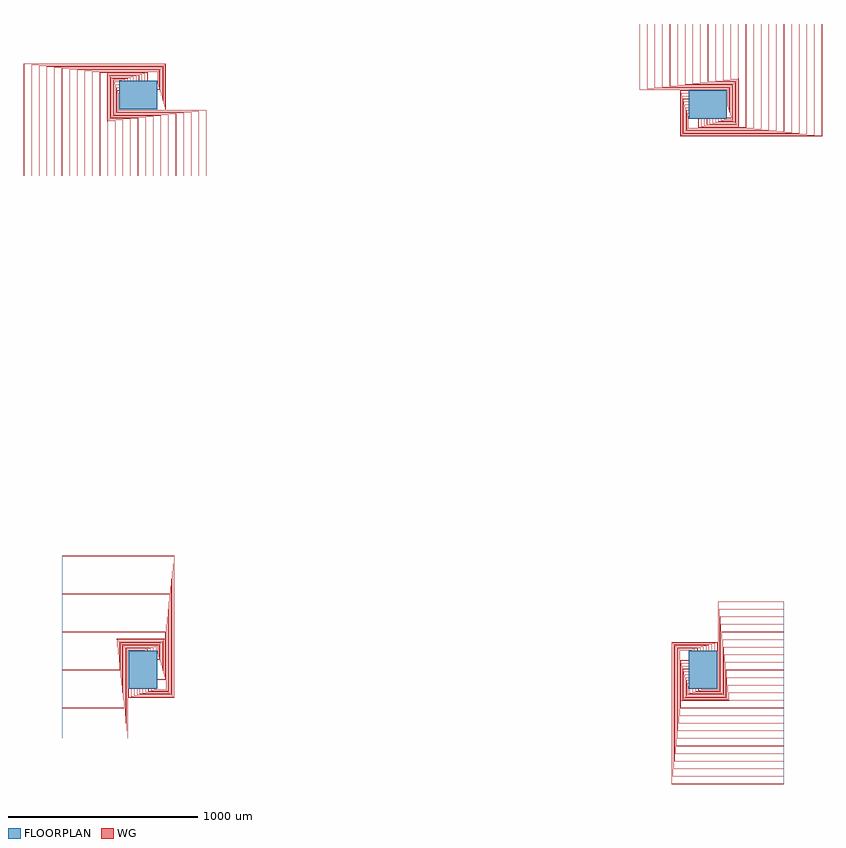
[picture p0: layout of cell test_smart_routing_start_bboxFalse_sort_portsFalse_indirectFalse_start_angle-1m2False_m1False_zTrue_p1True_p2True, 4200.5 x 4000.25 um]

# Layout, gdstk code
import gdstk
lib = gdstk.Library(unit=1e-6, precision=1e-09)
def R(c, l, rs):  # rectangles x0, y0, x1, y1
    for r in rs: c.add(gdstk.rectangle(r[:2], r[2:], *l))
def P(c, l, *ps):  # polygons
    for p in ps: c.add(gdstk.Polygon(p, *l))
WG = (1, 0)
FLOORPLAN = (10, 0)

test_smart_routing_start = lib.new_cell('test_smart_routing_start_bboxFalse_sort_portsFalse_indirectFalse_start_angle-1m2False_m1False_zTrue_p1True_p2True')
P(test_smart_routing_start, WG, [(2855.3,2810.3),(2855.3,3049.95),(2900,3049.95),(2900,3049.75),(2855.5,3049.75),(2855.5,2810.5),(3599.75,2810.5),(3599.75,3400),(3599.95,3400),(3599.95,2810.3)],
  [(2855,2810),(2855,3050.25),(2900,3050.25),(2900,3050.05),(2855.2,3050.05),(2855.2,2810.2),(3600.05,2810.2),(3600.05,3400),(3600.25,3400),(3600.25,2810)],
  [(2859.8,2814.8),(2859.8,3034.95),(2900,3034.95),(2900,3034.75),(2860,3034.75),(2860,2815),(3559.75,2815),(3559.75,3400),(3559.95,3400),(3559.95,2814.8)],
  [(2859.5,2814.5),(2859.5,3035.25),(2900,3035.25),(2900,3035.05),(2859.7,3035.05),(2859.7,2814.7),(3560.05,2814.7),(3560.05,3400),(3560.25,3400),(3560.25,2814.5)],
  [(2864.3,2819.3),(2864.3,3019.95),(2900,3019.95),(2900,3019.75),(2864.5,3019.75),(2864.5,2819.5),(3519.75,2819.5),(3519.75,3400),(3519.95,3400),(3519.95,2819.3)],
  [(2864,2819),(2864,3020.25),(2900,3020.25),(2900,3020.05),(2864.2,3020.05),(2864.2,2819.2),(3520.05,2819.2),(3520.05,3400),(3520.25,3400),(3520.25,2819)],
  [(2868.8,2823.8),(2868.8,3004.95),(2900,3004.95),(2900,3004.75),(2869,3004.75),(2869,2824),(3479.75,2824),(3479.75,3400),(3479.95,3400),(3479.95,2823.8)],
  [(2868.5,2823.5),(2868.5,3005.25),(2900,3005.25),(2900,3005.05),(2868.7,3005.05),(2868.7,2823.7),(3480.05,2823.7),(3480.05,3400),(3480.25,3400),(3480.25,2823.5)],
  [(2873.3,2828.3),(2873.3,2989.95),(2900,2989.95),(2900,2989.75),(2873.5,2989.75),(2873.5,2828.5),(3439.75,2828.5),(3439.75,3400),(3439.95,3400),(3439.95,2828.3)],
  [(2873,2828),(2873,2990.25),(2900,2990.25),(2900,2990.05),(2873.2,2990.05),(2873.2,2828.2),(3440.05,2828.2),(3440.05,3400),(3440.25,3400),(3440.25,2828)],
  [(2877.8,2832.8),(2877.8,2974.95),(2900,2974.95),(2900,2974.75),(2878,2974.75),(2878,2833),(3399.75,2833),(3399.75,3400),(3399.95,3400),(3399.95,2832.8)],
  [(2877.5,2832.5),(2877.5,2975.25),(2900,2975.25),(2900,2975.05),(2877.7,2975.05),(2877.7,2832.7),(3400.05,2832.7),(3400.05,3400),(3400.25,3400),(3400.25,2832.5)],
  [(2882.3,2837.3),(2882.3,2959.95),(2900,2959.95),(2900,2959.75),(2882.5,2959.75),(2882.5,2837.5),(3359.75,2837.5),(3359.75,3400),(3359.95,3400),(3359.95,2837.3)],
  [(2882,2837),(2882,2960.25),(2900,2960.25),(2900,2960.05),(2882.2,2960.05),(2882.2,2837.2),(3360.05,2837.2),(3360.05,3400),(3360.25,3400),(3360.25,2837)],
  [(2886.8,2841.8),(2886.8,2944.95),(2900,2944.95),(2900,2944.75),(2887,2944.75),(2887,2842),(3319.75,2842),(3319.75,3400),(3319.95,3400),(3319.95,2841.8)],
  [(2886.5,2841.5),(2886.5,2945.25),(2900,2945.25),(2900,2945.05),(2886.7,2945.05),(2886.7,2841.7),(3320.05,2841.7),(3320.05,3400),(3320.25,3400),(3320.25,2841.5)],
  [(2891.3,2846.3),(2891.3,2929.95),(2900,2929.95),(2900,2929.75),(2891.5,2929.75),(2891.5,2846.5),(3279.75,2846.5),(3279.75,3400),(3279.95,3400),(3279.95,2846.3)],
  [(2891,2846),(2891,2930.25),(2900,2930.25),(2900,2930.05),(2891.2,2930.05),(2891.2,2846.2),(3280.05,2846.2),(3280.05,3400),(3280.25,3400),(3280.25,2846)],
  [(2895.8,2850.8),(2895.8,2914.95),(2900,2914.95),(2900,2914.75),(2896,2914.75),(2896,2851),(3239.75,2851),(3239.75,3400),(3239.95,3400),(3239.95,2850.8)],
  [(2895.5,2850.5),(2895.5,2915.25),(2900,2915.25),(2900,2915.05),(2895.7,2915.05),(2895.7,2850.7),(3240.05,2850.7),(3240.05,3400),(3240.25,3400),(3240.25,2850.5)],
  [(2950.05,2855.3),(2950.05,2900),(2950.25,2900),(2950.25,2855.5),(3199.75,2855.5),(3199.75,3400),(3199.95,3400),(3199.95,2855.3)],
  [(2949.75,2855),(2949.75,2900),(2949.95,2900),(2949.95,2855.2),(3200.05,2855.2),(3200.05,3400),(3200.25,3400),(3200.25,2855)],
  [(2965.05,2859.8),(2965.05,2900),(2965.25,2900),(2965.25,2860),(3162.5,2860),(3162.5,3112.75),(3159.75,3112.75),(3159.75,3400),(3159.95,3400),(3159.95,3112.95),(3162.7,3112.95),(3162.7,2859.8)],
  [(2964.75,2859.5),(2964.75,2900),(2964.95,2900),(2964.95,2859.7),(3162.8,2859.7),(3162.8,3113.05),(3160.05,3113.05),(3160.05,3400),(3160.25,3400),(3160.25,3113.25),(3163,3113.25),(3163,2859.5)],
  [(2980.05,2864.3),(2980.05,2900),(2980.25,2900),(2980.25,2864.5),(3158,2864.5),(3158,3108.25),(3119.75,3108.25),(3119.75,3400),(3119.95,3400),(3119.95,3108.45),(3158.2,3108.45),(3158.2,2864.3)],
  [(2979.75,2864),(2979.75,2900),(2979.95,2900),(2979.95,2864.2),(3158.3,2864.2),(3158.3,3108.55),(3120.05,3108.55),(3120.05,3400),(3120.25,3400),(3120.25,3108.75),(3158.5,3108.75),(3158.5,2864)],
  [(2995.05,2868.8),(2995.05,2900),(2995.25,2900),(2995.25,2869),(3153.5,2869),(3153.5,3103.75),(3079.75,3103.75),(3079.75,3400),(3079.95,3400),(3079.95,3103.95),(3153.7,3103.95),(3153.7,2868.8)],
  [(2994.75,2868.5),(2994.75,2900),(2994.95,2900),(2994.95,2868.7),(3153.8,2868.7),(3153.8,3104.05),(3080.05,3104.05),(3080.05,3400),(3080.25,3400),(3080.25,3104.25),(3154,3104.25),(3154,2868.5)],
  [(3010.05,2873.3),(3010.05,2900),(3010.25,2900),(3010.25,2873.5),(3149,2873.5),(3149,3099.25),(3039.75,3099.25),(3039.75,3400),(3039.95,3400),(3039.95,3099.45),(3149.2,3099.45),(3149.2,2873.3)],
  [(3009.75,2873),(3009.75,2900),(3009.95,2900),(3009.95,2873.2),(3149.3,2873.2),(3149.3,3099.55),(3040.05,3099.55),(3040.05,3400),(3040.25,3400),(3040.25,3099.75),(3149.5,3099.75),(3149.5,2873)],
  [(3025.05,2877.8),(3025.05,2900),(3025.25,2900),(3025.25,2878),(3144.5,2878),(3144.5,3094.75),(2999.75,3094.75),(2999.75,3400),(2999.95,3400),(2999.95,3094.95),(3144.7,3094.95),(3144.7,2877.8)],
  [(3024.75,2877.5),(3024.75,2900),(3024.95,2900),(3024.95,2877.7),(3144.8,2877.7),(3144.8,3095.05),(3000.05,3095.05),(3000.05,3400),(3000.25,3400),(3000.25,3095.25),(3145,3095.25),(3145,2877.5)],
  [(3040.05,2882.3),(3040.05,2900),(3040.25,2900),(3040.25,2882.5),(3140,2882.5),(3140,3090.25),(2959.75,3090.25),(2959.75,3400),(2959.95,3400),(2959.95,3090.45),(3140.2,3090.45),(3140.2,2882.3)],
  [(3039.75,2882),(3039.75,2900),(3039.95,2900),(3039.95,2882.2),(3140.3,2882.2),(3140.3,3090.55),(2960.05,3090.55),(2960.05,3400),(2960.25,3400),(2960.25,3090.75),(3140.5,3090.75),(3140.5,2882)],
  [(3055.05,2886.8),(3055.05,2900),(3055.25,2900),(3055.25,2887),(3135.5,2887),(3135.5,3085.75),(2919.75,3085.75),(2919.75,3400),(2919.95,3400),(2919.95,3085.95),(3135.7,3085.95),(3135.7,2886.8)],
  [(3054.75,2886.5),(3054.75,2900),(3054.95,2900),(3054.95,2886.7),(3135.8,2886.7),(3135.8,3086.05),(2920.05,3086.05),(2920.05,3400),(2920.25,3400),(2920.25,3086.25),(3136,3086.25),(3136,2886.5)],
  [(3070.05,2891.3),(3070.05,2900),(3070.25,2900),(3070.25,2891.5),(3131,2891.5),(3131,3081.25),(2879.75,3081.25),(2879.75,3400),(2879.95,3400),(2879.95,3081.45),(3131.2,3081.45),(3131.2,2891.3)],
  [(3069.75,2891),(3069.75,2900),(3069.95,2900),(3069.95,2891.2),(3131.3,2891.2),(3131.3,3081.55),(2880.05,3081.55),(2880.05,3400),(2880.25,3400),(2880.25,3081.75),(3131.5,3081.75),(3131.5,2891)],
  [(3085.05,2895.8),(3085.05,2900),(3085.25,2900),(3085.25,2896),(3126.5,2896),(3126.5,3076.75),(2839.75,3076.75),(2839.75,3400),(2839.95,3400),(2839.95,3076.95),(3126.7,3076.95),(3126.7,2895.8)],
  [(3084.75,2895.5),(3084.75,2900),(3084.95,2900),(3084.95,2895.7),(3126.8,2895.7),(3126.8,3077.05),(2840.05,3077.05),(2840.05,3400),(2840.25,3400),(2840.25,3077.25),(3127,3077.25),(3127,2895.5)],
  [(3100,2965.05),(3100,2965.25),(3104,2965.25),(3104,3054.25),(2639.75,3054.25),(2639.75,3400),(2639.95,3400),(2639.95,3054.45),(3104.2,3054.45),(3104.2,2965.05)],
  [(3100,2964.75),(3100,2964.95),(3104.3,2964.95),(3104.3,3054.55),(2640.05,3054.55),(2640.05,3400),(2640.25,3400),(2640.25,3054.75),(3104.5,3054.75),(3104.5,2964.75)],
  [(3100,2950.05),(3100,2950.25),(3108.5,2950.25),(3108.5,3058.75),(2679.75,3058.75),(2679.75,3400),(2679.95,3400),(2679.95,3058.95),(3108.7,3058.95),(3108.7,2950.05)],
  [(3100,2949.75),(3100,2949.95),(3108.8,2949.95),(3108.8,3059.05),(2680.05,3059.05),(2680.05,3400),(2680.25,3400),(2680.25,3059.25),(3109,3059.25),(3109,2949.75)],
  [(3100,2935.05),(3100,2935.25),(3113,2935.25),(3113,3063.25),(2719.75,3063.25),(2719.75,3400),(2719.95,3400),(2719.95,3063.45),(3113.2,3063.45),(3113.2,2935.05)],
  [(3100,2934.75),(3100,2934.95),(3113.3,2934.95),(3113.3,3063.55),(2720.05,3063.55),(2720.05,3400),(2720.25,3400),(2720.25,3063.75),(3113.5,3063.75),(3113.5,2934.75)],
  [(3100,2920.05),(3100,2920.25),(3117.5,2920.25),(3117.5,3067.75),(2759.75,3067.75),(2759.75,3400),(2759.95,3400),(2759.95,3067.95),(3117.7,3067.95),(3117.7,2920.05)],
  [(3100,2919.75),(3100,2919.95),(3117.8,2919.95),(3117.8,3068.05),(2760.05,3068.05),(2760.05,3400),(2760.25,3400),(2760.25,3068.25),(3118,3068.25),(3118,2919.75)],
  [(3100,2905.05),(3100,2905.25),(3122,2905.25),(3122,3072.25),(2799.75,3072.25),(2799.75,3400),(2799.95,3400),(2799.95,3072.45),(3122.2,3072.45),(3122.2,2905.05)],
  [(3100,2904.75),(3100,2904.95),(3122.3,2904.95),(3122.3,3072.55),(2800.05,3072.55),(2800.05,3400),(2800.25,3400),(2800.25,3072.75),(3122.5,3072.75),(3122.5,2904.75)],
  [(-599.95,2600),(-599.95,3189.7),(144.7,3189.7),(144.7,2950.05),(100,2950.05),(100,2950.25),(144.5,2950.25),(144.5,3189.5),(-599.75,3189.5),(-599.75,2600)],
  [(-600.25,2600),(-600.25,3190),(145,3190),(145,2949.75),(100,2949.75),(100,2949.95),(144.8,2949.95),(144.8,3189.8),(-600.05,3189.8),(-600.05,2600)],
  [(-559.95,2600),(-559.95,3185.2),(140.2,3185.2),(140.2,2965.05),(100,2965.05),(100,2965.25),(140,2965.25),(140,3185),(-559.75,3185),(-559.75,2600)],
  [(-560.25,2600),(-560.25,3185.5),(140.5,3185.5),(140.5,2964.75),(100,2964.75),(100,2964.95),(140.3,2964.95),(140.3,3185.3),(-560.05,3185.3),(-560.05,2600)],
  [(-519.95,2600),(-519.95,3180.7),(135.7,3180.7),(135.7,2980.05),(100,2980.05),(100,2980.25),(135.5,2980.25),(135.5,3180.5),(-519.75,3180.5),(-519.75,2600)],
  [(-520.25,2600),(-520.25,3181),(136,3181),(136,2979.75),(100,2979.75),(100,2979.95),(135.8,2979.95),(135.8,3180.8),(-520.05,3180.8),(-520.05,2600)],
  [(-479.95,2600),(-479.95,3176.2),(131.2,3176.2),(131.2,2995.05),(100,2995.05),(100,2995.25),(131,2995.25),(131,3176),(-479.75,3176),(-479.75,2600)],
  [(-480.25,2600),(-480.25,3176.5),(131.5,3176.5),(131.5,2994.75),(100,2994.75),(100,2994.95),(131.3,2994.95),(131.3,3176.3),(-480.05,3176.3),(-480.05,2600)],
  [(-439.95,2600),(-439.95,3171.7),(126.7,3171.7),(126.7,3010.05),(100,3010.05),(100,3010.25),(126.5,3010.25),(126.5,3171.5),(-439.75,3171.5),(-439.75,2600)],
  [(-440.25,2600),(-440.25,3172),(127,3172),(127,3009.75),(100,3009.75),(100,3009.95),(126.8,3009.95),(126.8,3171.8),(-440.05,3171.8),(-440.05,2600)],
  [(-399.95,2600),(-399.95,3167.2),(122.2,3167.2),(122.2,3025.05),(100,3025.05),(100,3025.25),(122,3025.25),(122,3167),(-399.75,3167),(-399.75,2600)],
  [(-400.25,2600),(-400.25,3167.5),(122.5,3167.5),(122.5,3024.75),(100,3024.75),(100,3024.95),(122.3,3024.95),(122.3,3167.3),(-400.05,3167.3),(-400.05,2600)],
  [(-359.95,2600),(-359.95,3162.7),(117.7,3162.7),(117.7,3040.05),(100,3040.05),(100,3040.25),(117.5,3040.25),(117.5,3162.5),(-359.75,3162.5),(-359.75,2600)],
  [(-360.25,2600),(-360.25,3163),(118,3163),(118,3039.75),(100,3039.75),(100,3039.95),(117.8,3039.95),(117.8,3162.8),(-360.05,3162.8),(-360.05,2600)],
  [(-319.95,2600),(-319.95,3158.2),(113.2,3158.2),(113.2,3055.05),(100,3055.05),(100,3055.25),(113,3055.25),(113,3158),(-319.75,3158),(-319.75,2600)],
  [(-320.25,2600),(-320.25,3158.5),(113.5,3158.5),(113.5,3054.75),(100,3054.75),(100,3054.95),(113.3,3054.95),(113.3,3158.3),(-320.05,3158.3),(-320.05,2600)],
  [(-279.95,2600),(-279.95,3153.7),(108.7,3153.7),(108.7,3070.05),(100,3070.05),(100,3070.25),(108.5,3070.25),(108.5,3153.5),(-279.75,3153.5),(-279.75,2600)],
  [(-280.25,2600),(-280.25,3154),(109,3154),(109,3069.75),(100,3069.75),(100,3069.95),(108.8,3069.95),(108.8,3153.8),(-280.05,3153.8),(-280.05,2600)],
  [(-239.95,2600),(-239.95,3149.2),(104.2,3149.2),(104.2,3085.05),(100,3085.05),(100,3085.25),(104,3085.25),(104,3149),(-239.75,3149),(-239.75,2600)],
  [(-240.25,2600),(-240.25,3149.5),(104.5,3149.5),(104.5,3084.75),(100,3084.75),(100,3084.95),(104.3,3084.95),(104.3,3149.3),(-240.05,3149.3),(-240.05,2600)],
  [(-199.95,2600),(-199.95,3144.7),(49.95,3144.7),(49.95,3100),(49.75,3100),(49.75,3144.5),(-199.75,3144.5),(-199.75,2600)],
  [(-200.25,2600),(-200.25,3145),(50.25,3145),(50.25,3100),(50.05,3100),(50.05,3144.8),(-200.05,3144.8),(-200.05,2600)],
  [(-159.95,2600),(-159.95,2887.05),(-162.7,2887.05),(-162.7,3140.2),(34.95,3140.2),(34.95,3100),(34.75,3100),(34.75,3140),(-162.5,3140),(-162.5,2887.25),(-159.75,2887.25),(-159.75,2600)],
  [(-160.25,2600),(-160.25,2886.75),(-163,2886.75),(-163,3140.5),(35.25,3140.5),(35.25,3100),(35.05,3100),(35.05,3140.3),(-162.8,3140.3),(-162.8,2886.95),(-160.05,2886.95),(-160.05,2600)],
  [(-119.95,2600),(-119.95,2891.55),(-158.2,2891.55),(-158.2,3135.7),(19.95,3135.7),(19.95,3100),(19.75,3100),(19.75,3135.5),(-158,3135.5),(-158,2891.75),(-119.75,2891.75),(-119.75,2600)],
  [(-120.25,2600),(-120.25,2891.25),(-158.5,2891.25),(-158.5,3136),(20.25,3136),(20.25,3100),(20.05,3100),(20.05,3135.8),(-158.3,3135.8),(-158.3,2891.45),(-120.05,2891.45),(-120.05,2600)],
  [(-79.95,2600),(-79.95,2896.05),(-153.7,2896.05),(-153.7,3131.2),(4.95,3131.2),(4.95,3100),(4.75,3100),(4.75,3131),(-153.5,3131),(-153.5,2896.25),(-79.75,2896.25),(-79.75,2600)],
  [(-80.25,2600),(-80.25,2895.75),(-154,2895.75),(-154,3131.5),(5.25,3131.5),(5.25,3100),(5.05,3100),(5.05,3131.3),(-153.8,3131.3),(-153.8,2895.95),(-80.05,2895.95),(-80.05,2600)],
  [(-39.95,2600),(-39.95,2900.55),(-149.2,2900.55),(-149.2,3126.7),(-10.05,3126.7),(-10.05,3100),(-10.25,3100),(-10.25,3126.5),(-149,3126.5),(-149,2900.75),(-39.75,2900.75),(-39.75,2600)],
  [(-40.25,2600),(-40.25,2900.25),(-149.5,2900.25),(-149.5,3127),(-9.75,3127),(-9.75,3100),(-9.95,3100),(-9.95,3126.8),(-149.3,3126.8),(-149.3,2900.45),(-40.05,2900.45),(-40.05,2600)],
  [(0.05,2600),(0.05,2905.05),(-144.7,2905.05),(-144.7,3122.2),(-25.05,3122.2),(-25.05,3100),(-25.25,3100),(-25.25,3122),(-144.5,3122),(-144.5,2905.25),(0.25,2905.25),(0.25,2600)],
  [(-0.25,2600),(-0.25,2904.75),(-145,2904.75),(-145,3122.5),(-24.75,3122.5),(-24.75,3100),(-24.95,3100),(-24.95,3122.3),(-144.8,3122.3),(-144.8,2904.95),(-0.05,2904.95),(-0.05,2600)],
  [(40.05,2600),(40.05,2909.55),(-140.2,2909.55),(-140.2,3117.7),(-40.05,3117.7),(-40.05,3100),(-40.25,3100),(-40.25,3117.5),(-140,3117.5),(-140,2909.75),(40.25,2909.75),(40.25,2600)],
  [(39.75,2600),(39.75,2909.25),(-140.5,2909.25),(-140.5,3118),(-39.75,3118),(-39.75,3100),(-39.95,3100),(-39.95,3117.8),(-140.3,3117.8),(-140.3,2909.45),(39.95,2909.45),(39.95,2600)],
  [(80.05,2600),(80.05,2914.05),(-135.7,2914.05),(-135.7,3113.2),(-55.05,3113.2),(-55.05,3100),(-55.25,3100),(-55.25,3113),(-135.5,3113),(-135.5,2914.25),(80.25,2914.25),(80.25,2600)],
  [(79.75,2600),(79.75,2913.75),(-136,2913.75),(-136,3113.5),(-54.75,3113.5),(-54.75,3100),(-54.95,3100),(-54.95,3113.3),(-135.8,3113.3),(-135.8,2913.95),(79.95,2913.95),(79.95,2600)],
  [(120.05,2600),(120.05,2918.55),(-131.2,2918.55),(-131.2,3108.7),(-70.05,3108.7),(-70.05,3100),(-70.25,3100),(-70.25,3108.5),(-131,3108.5),(-131,2918.75),(120.25,2918.75),(120.25,2600)],
  [(119.75,2600),(119.75,2918.25),(-131.5,2918.25),(-131.5,3109),(-69.75,3109),(-69.75,3100),(-69.95,3100),(-69.95,3108.8),(-131.3,3108.8),(-131.3,2918.45),(119.95,2918.45),(119.95,2600)],
  [(160.05,2600),(160.05,2923.05),(-126.7,2923.05),(-126.7,3104.2),(-85.05,3104.2),(-85.05,3100),(-85.25,3100),(-85.25,3104),(-126.5,3104),(-126.5,2923.25),(160.25,2923.25),(160.25,2600)],
  [(159.75,2600),(159.75,2922.75),(-127,2922.75),(-127,3104.5),(-84.75,3104.5),(-84.75,3100),(-84.95,3100),(-84.95,3104.3),(-126.8,3104.3),(-126.8,2922.95),(159.95,2922.95),(159.95,2600)],
  [(360.05,2600),(360.05,2945.55),(-104.2,2945.55),(-104.2,3034.95),(-100,3034.95),(-100,3034.75),(-104,3034.75),(-104,2945.75),(360.25,2945.75),(360.25,2600)],
  [(359.75,2600),(359.75,2945.25),(-104.5,2945.25),(-104.5,3035.25),(-100,3035.25),(-100,3035.05),(-104.3,3035.05),(-104.3,2945.45),(359.95,2945.45),(359.95,2600)],
  [(320.05,2600),(320.05,2941.05),(-108.7,2941.05),(-108.7,3049.95),(-100,3049.95),(-100,3049.75),(-108.5,3049.75),(-108.5,2941.25),(320.25,2941.25),(320.25,2600)],
  [(319.75,2600),(319.75,2940.75),(-109,2940.75),(-109,3050.25),(-100,3050.25),(-100,3050.05),(-108.8,3050.05),(-108.8,2940.95),(319.95,2940.95),(319.95,2600)],
  [(280.05,2600),(280.05,2936.55),(-113.2,2936.55),(-113.2,3064.95),(-100,3064.95),(-100,3064.75),(-113,3064.75),(-113,2936.75),(280.25,2936.75),(280.25,2600)],
  [(279.75,2600),(279.75,2936.25),(-113.5,2936.25),(-113.5,3065.25),(-100,3065.25),(-100,3065.05),(-113.3,3065.05),(-113.3,2936.45),(279.95,2936.45),(279.95,2600)],
  [(240.05,2600),(240.05,2932.05),(-117.7,2932.05),(-117.7,3079.95),(-100,3079.95),(-100,3079.75),(-117.5,3079.75),(-117.5,2932.25),(240.25,2932.25),(240.25,2600)],
  [(239.75,2600),(239.75,2931.75),(-118,2931.75),(-118,3080.25),(-100,3080.25),(-100,3080.05),(-117.8,3080.05),(-117.8,2931.95),(239.95,2931.95),(239.95,2600)],
  [(200.05,2600),(200.05,2927.55),(-122.2,2927.55),(-122.2,3094.95),(-100,3094.95),(-100,3094.75),(-122,3094.75),(-122,2927.75),(200.25,2927.75),(200.25,2600)],
  [(199.75,2600),(199.75,2927.25),(-122.5,2927.25),(-122.5,3095.25),(-100,3095.25),(-100,3095.05),(-122.3,3095.05),(-122.3,2927.45),(199.95,2927.45),(199.95,2600)],
  [(-49.95,-144.7),(-49.95,-100),(-49.75,-100),(-49.75,-144.5),(189.5,-144.5),(189.5,599.75),(-400,599.75),(-400,599.95),(189.7,599.95),(189.7,-144.7)],
  [(-50.25,-145),(-50.25,-100),(-50.05,-100),(-50.05,-144.8),(189.8,-144.8),(189.8,600.05),(-400,600.05),(-400,600.25),(190,600.25),(190,-145)],
  [(-34.95,-140.2),(-34.95,-100),(-34.75,-100),(-34.75,-140),(185,-140),(185,559.75),(-400,559.75),(-400,559.95),(185.2,559.95),(185.2,-140.2)],
  [(-35.25,-140.5),(-35.25,-100),(-35.05,-100),(-35.05,-140.3),(185.3,-140.3),(185.3,560.05),(-400,560.05),(-400,560.25),(185.5,560.25),(185.5,-140.5)],
  [(-19.95,-135.7),(-19.95,-100),(-19.75,-100),(-19.75,-135.5),(180.5,-135.5),(180.5,519.75),(-400,519.75),(-400,519.95),(180.7,519.95),(180.7,-135.7)],
  [(-20.25,-136),(-20.25,-100),(-20.05,-100),(-20.05,-135.8),(180.8,-135.8),(180.8,520.05),(-400,520.05),(-400,520.25),(181,520.25),(181,-136)],
  [(-4.95,-131.2),(-4.95,-100),(-4.75,-100),(-4.75,-131),(176,-131),(176,479.75),(-400,479.75),(-400,479.95),(176.2,479.95),(176.2,-131.2)],
  [(-5.25,-131.5),(-5.25,-100),(-5.05,-100),(-5.05,-131.3),(176.3,-131.3),(176.3,480.05),(-400,480.05),(-400,480.25),(176.5,480.25),(176.5,-131.5)],
  [(10.05,-126.7),(10.05,-100),(10.25,-100),(10.25,-126.5),(171.5,-126.5),(171.5,439.75),(-400,439.75),(-400,439.95),(171.7,439.95),(171.7,-126.7)],
  [(9.75,-127),(9.75,-100),(9.95,-100),(9.95,-126.8),(171.8,-126.8),(171.8,440.05),(-400,440.05),(-400,440.25),(172,440.25),(172,-127)],
  [(25.05,-122.2),(25.05,-100),(25.25,-100),(25.25,-122),(167,-122),(167,399.75),(-400,399.75),(-400,399.95),(167.2,399.95),(167.2,-122.2)],
  [(24.75,-122.5),(24.75,-100),(24.95,-100),(24.95,-122.3),(167.3,-122.3),(167.3,400.05),(-400,400.05),(-400,400.25),(167.5,400.25),(167.5,-122.5)],
  [(40.05,-117.7),(40.05,-100),(40.25,-100),(40.25,-117.5),(162.5,-117.5),(162.5,359.75),(-400,359.75),(-400,359.95),(162.7,359.95),(162.7,-117.7)],
  [(39.75,-118),(39.75,-100),(39.95,-100),(39.95,-117.8),(162.8,-117.8),(162.8,360.05),(-400,360.05),(-400,360.25),(163,360.25),(163,-118)],
  [(55.05,-113.2),(55.05,-100),(55.25,-100),(55.25,-113),(158,-113),(158,319.75),(-400,319.75),(-400,319.95),(158.2,319.95),(158.2,-113.2)],
  [(54.75,-113.5),(54.75,-100),(54.95,-100),(54.95,-113.3),(158.3,-113.3),(158.3,320.05),(-400,320.05),(-400,320.25),(158.5,320.25),(158.5,-113.5)],
  [(70.05,-108.7),(70.05,-100),(70.25,-100),(70.25,-108.5),(153.5,-108.5),(153.5,279.75),(-400,279.75),(-400,279.95),(153.7,279.95),(153.7,-108.7)],
  [(69.75,-109),(69.75,-100),(69.95,-100),(69.95,-108.8),(153.8,-108.8),(153.8,280.05),(-400,280.05),(-400,280.25),(154,280.25),(154,-109)],
  [(85.05,-104.2),(85.05,-100),(85.25,-100),(85.25,-104),(149,-104),(149,239.75),(-400,239.75),(-400,239.95),(149.2,239.95),(149.2,-104.2)],
  [(84.75,-104.5),(84.75,-100),(84.95,-100),(84.95,-104.3),(149.3,-104.3),(149.3,240.05),(-400,240.05),(-400,240.25),(149.5,240.25),(149.5,-104.5)],
  [(100,-49.95),(100,-49.75),(144.5,-49.75),(144.5,199.75),(-400,199.75),(-400,199.95),(144.7,199.95),(144.7,-49.95)],
  [(100,-50.25),(100,-50.05),(144.8,-50.05),(144.8,200.05),(-400,200.05),(-400,200.25),(145,200.25),(145,-50.25)],
  [(100,-34.95),(100,-34.75),(140,-34.75),(140,162.5),(-112.75,162.5),(-112.75,159.75),(-400,159.75),(-400,159.95),(-112.95,159.95),(-112.95,162.7),(140.2,162.7),(140.2,-34.95)],
  [(100,-35.25),(100,-35.05),(140.3,-35.05),(140.3,162.8),(-113.05,162.8),(-113.05,160.05),(-400,160.05),(-400,160.25),(-113.25,160.25),(-113.25,163),(140.5,163),(140.5,-35.25)],
  [(100,-19.95),(100,-19.75),(135.5,-19.75),(135.5,158),(-108.25,158),(-108.25,119.75),(-400,119.75),(-400,119.95),(-108.45,119.95),(-108.45,158.2),(135.7,158.2),(135.7,-19.95)],
  [(100,-20.25),(100,-20.05),(135.8,-20.05),(135.8,158.3),(-108.55,158.3),(-108.55,120.05),(-400,120.05),(-400,120.25),(-108.75,120.25),(-108.75,158.5),(136,158.5),(136,-20.25)],
  [(100,-4.95),(100,-4.75),(131,-4.75),(131,153.5),(-103.75,153.5),(-103.75,79.75),(-400,79.75),(-400,79.95),(-103.95,79.95),(-103.95,153.7),(131.2,153.7),(131.2,-4.95)],
  [(100,-5.25),(100,-5.05),(131.3,-5.05),(131.3,153.8),(-104.05,153.8),(-104.05,80.05),(-400,80.05),(-400,80.25),(-104.25,80.25),(-104.25,154),(131.5,154),(131.5,-5.25)],
  [(100,10.05),(100,10.25),(126.5,10.25),(126.5,149),(-99.25,149),(-99.25,39.75),(-400,39.75),(-400,39.95),(-99.45,39.95),(-99.45,149.2),(126.7,149.2),(126.7,10.05)],
  [(100,9.75),(100,9.95),(126.8,9.95),(126.8,149.3),(-99.55,149.3),(-99.55,40.05),(-400,40.05),(-400,40.25),(-99.75,40.25),(-99.75,149.5),(127,149.5),(127,9.75)],
  [(-400,-0.25),(-400,-0.05),(-94.95,-0.05),(-94.95,144.7),(122.2,144.7),(122.2,25.05),(100,25.05),(100,25.25),(122,25.25),(122,144.5),(-94.75,144.5),(-94.75,-0.25)],
  [(-400,0.05),(-400,0.25),(-95.25,0.25),(-95.25,145),(122.5,145),(122.5,24.75),(100,24.75),(100,24.95),(122.3,24.95),(122.3,144.8),(-95.05,144.8),(-95.05,0.05)],
  [(-400,-40.25),(-400,-40.05),(-90.45,-40.05),(-90.45,140.2),(117.7,140.2),(117.7,40.05),(100,40.05),(100,40.25),(117.5,40.25),(117.5,140),(-90.25,140),(-90.25,-40.25)],
  [(-400,-39.95),(-400,-39.75),(-90.75,-39.75),(-90.75,140.5),(118,140.5),(118,39.75),(100,39.75),(100,39.95),(117.8,39.95),(117.8,140.3),(-90.55,140.3),(-90.55,-39.95)],
  [(-400,-80.25),(-400,-80.05),(-85.95,-80.05),(-85.95,135.7),(113.2,135.7),(113.2,55.05),(100,55.05),(100,55.25),(113,55.25),(113,135.5),(-85.75,135.5),(-85.75,-80.25)],
  [(-400,-79.95),(-400,-79.75),(-86.25,-79.75),(-86.25,136),(113.5,136),(113.5,54.75),(100,54.75),(100,54.95),(113.3,54.95),(113.3,135.8),(-86.05,135.8),(-86.05,-79.95)],
  [(-400,-120.25),(-400,-120.05),(-81.45,-120.05),(-81.45,131.2),(108.7,131.2),(108.7,70.05),(100,70.05),(100,70.25),(108.5,70.25),(108.5,131),(-81.25,131),(-81.25,-120.25)],
  [(-400,-119.95),(-400,-119.75),(-81.75,-119.75),(-81.75,131.5),(109,131.5),(109,69.75),(100,69.75),(100,69.95),(108.8,69.95),(108.8,131.3),(-81.55,131.3),(-81.55,-119.95)],
  [(-400,-160.25),(-400,-160.05),(-76.95,-160.05),(-76.95,126.7),(104.2,126.7),(104.2,85.05),(100,85.05),(100,85.25),(104,85.25),(104,126.5),(-76.75,126.5),(-76.75,-160.25)],
  [(-400,-159.95),(-400,-159.75),(-77.25,-159.75),(-77.25,127),(104.5,127),(104.5,84.75),(100,84.75),(100,84.95),(104.3,84.95),(104.3,126.8),(-77.05,126.8),(-77.05,-159.95)],
  [(-400,-360.25),(-400,-360.05),(-54.45,-360.05),(-54.45,104.2),(34.95,104.2),(34.95,100),(34.75,100),(34.75,104),(-54.25,104),(-54.25,-360.25)],
  [(-400,-359.95),(-400,-359.75),(-54.75,-359.75),(-54.75,104.5),(35.25,104.5),(35.25,100),(35.05,100),(35.05,104.3),(-54.55,104.3),(-54.55,-359.95)],
  [(-400,-320.25),(-400,-320.05),(-58.95,-320.05),(-58.95,108.7),(49.95,108.7),(49.95,100),(49.75,100),(49.75,108.5),(-58.75,108.5),(-58.75,-320.25)],
  [(-400,-319.95),(-400,-319.75),(-59.25,-319.75),(-59.25,109),(50.25,109),(50.25,100),(50.05,100),(50.05,108.8),(-59.05,108.8),(-59.05,-319.95)],
  [(-400,-280.25),(-400,-280.05),(-63.45,-280.05),(-63.45,113.2),(64.95,113.2),(64.95,100),(64.75,100),(64.75,113),(-63.25,113),(-63.25,-280.25)],
  [(-400,-279.95),(-400,-279.75),(-63.75,-279.75),(-63.75,113.5),(65.25,113.5),(65.25,100),(65.05,100),(65.05,113.3),(-63.55,113.3),(-63.55,-279.95)],
  [(-400,-240.25),(-400,-240.05),(-67.95,-240.05),(-67.95,117.7),(79.95,117.7),(79.95,100),(79.75,100),(79.75,117.5),(-67.75,117.5),(-67.75,-240.25)],
  [(-400,-239.95),(-400,-239.75),(-68.25,-239.75),(-68.25,118),(80.25,118),(80.25,100),(80.05,100),(80.05,117.8),(-68.05,117.8),(-68.05,-239.95)],
  [(-400,-200.25),(-400,-200.05),(-72.45,-200.05),(-72.45,122.2),(94.95,122.2),(94.95,100),(94.75,100),(94.75,122),(-72.25,122),(-72.25,-200.25)],
  [(-400,-199.95),(-400,-199.75),(-72.75,-199.75),(-72.75,122.5),(95.25,122.5),(95.25,100),(95.05,100),(95.05,122.3),(-72.55,122.3),(-72.55,-199.95)],
  [(2810.3,-599.95),(2810.3,144.7),(3049.95,144.7),(3049.95,100),(3049.75,100),(3049.75,144.5),(2810.5,144.5),(2810.5,-599.75),(3400,-599.75),(3400,-599.95)],
  [(2810,-600.25),(2810,145),(3050.25,145),(3050.25,100),(3050.05,100),(3050.05,144.8),(2810.2,144.8),(2810.2,-600.05),(3400,-600.05),(3400,-600.25)],
  [(2814.8,-559.95),(2814.8,140.2),(3034.95,140.2),(3034.95,100),(3034.75,100),(3034.75,140),(2815,140),(2815,-559.75),(3400,-559.75),(3400,-559.95)],
  [(2814.5,-560.25),(2814.5,140.5),(3035.25,140.5),(3035.25,100),(3035.05,100),(3035.05,140.3),(2814.7,140.3),(2814.7,-560.05),(3400,-560.05),(3400,-560.25)],
  [(2819.3,-519.95),(2819.3,135.7),(3019.95,135.7),(3019.95,100),(3019.75,100),(3019.75,135.5),(2819.5,135.5),(2819.5,-519.75),(3400,-519.75),(3400,-519.95)],
  [(2819,-520.25),(2819,136),(3020.25,136),(3020.25,100),(3020.05,100),(3020.05,135.8),(2819.2,135.8),(2819.2,-520.05),(3400,-520.05),(3400,-520.25)],
  [(2823.8,-479.95),(2823.8,131.2),(3004.95,131.2),(3004.95,100),(3004.75,100),(3004.75,131),(2824,131),(2824,-479.75),(3400,-479.75),(3400,-479.95)],
  [(2823.5,-480.25),(2823.5,131.5),(3005.25,131.5),(3005.25,100),(3005.05,100),(3005.05,131.3),(2823.7,131.3),(2823.7,-480.05),(3400,-480.05),(3400,-480.25)],
  [(2828.3,-439.95),(2828.3,126.7),(2989.95,126.7),(2989.95,100),(2989.75,100),(2989.75,126.5),(2828.5,126.5),(2828.5,-439.75),(3400,-439.75),(3400,-439.95)],
  [(2828,-440.25),(2828,127),(2990.25,127),(2990.25,100),(2990.05,100),(2990.05,126.8),(2828.2,126.8),(2828.2,-440.05),(3400,-440.05),(3400,-440.25)],
  [(2832.8,-399.95),(2832.8,122.2),(2974.95,122.2),(2974.95,100),(2974.75,100),(2974.75,122),(2833,122),(2833,-399.75),(3400,-399.75),(3400,-399.95)],
  [(2832.5,-400.25),(2832.5,122.5),(2975.25,122.5),(2975.25,100),(2975.05,100),(2975.05,122.3),(2832.7,122.3),(2832.7,-400.05),(3400,-400.05),(3400,-400.25)],
  [(2837.3,-359.95),(2837.3,117.7),(2959.95,117.7),(2959.95,100),(2959.75,100),(2959.75,117.5),(2837.5,117.5),(2837.5,-359.75),(3400,-359.75),(3400,-359.95)],
  [(2837,-360.25),(2837,118),(2960.25,118),(2960.25,100),(2960.05,100),(2960.05,117.8),(2837.2,117.8),(2837.2,-360.05),(3400,-360.05),(3400,-360.25)],
  [(2841.8,-319.95),(2841.8,113.2),(2944.95,113.2),(2944.95,100),(2944.75,100),(2944.75,113),(2842,113),(2842,-319.75),(3400,-319.75),(3400,-319.95)],
  [(2841.5,-320.25),(2841.5,113.5),(2945.25,113.5),(2945.25,100),(2945.05,100),(2945.05,113.3),(2841.7,113.3),(2841.7,-320.05),(3400,-320.05),(3400,-320.25)],
  [(2846.3,-279.95),(2846.3,108.7),(2929.95,108.7),(2929.95,100),(2929.75,100),(2929.75,108.5),(2846.5,108.5),(2846.5,-279.75),(3400,-279.75),(3400,-279.95)],
  [(2846,-280.25),(2846,109),(2930.25,109),(2930.25,100),(2930.05,100),(2930.05,108.8),(2846.2,108.8),(2846.2,-280.05),(3400,-280.05),(3400,-280.25)],
  [(2850.8,-239.95),(2850.8,104.2),(2914.95,104.2),(2914.95,100),(2914.75,100),(2914.75,104),(2851,104),(2851,-239.75),(3400,-239.75),(3400,-239.95)],
  [(2850.5,-240.25),(2850.5,104.5),(2915.25,104.5),(2915.25,100),(2915.05,100),(2915.05,104.3),(2850.7,104.3),(2850.7,-240.05),(3400,-240.05),(3400,-240.25)],
  [(2855.3,-199.95),(2855.3,49.95),(2900,49.95),(2900,49.75),(2855.5,49.75),(2855.5,-199.75),(3400,-199.75),(3400,-199.95)],
  [(2855,-200.25),(2855,50.25),(2900,50.25),(2900,50.05),(2855.2,50.05),(2855.2,-200.05),(3400,-200.05),(3400,-200.25)],
  [(2859.8,-162.7),(2859.8,34.95),(2900,34.95),(2900,34.75),(2860,34.75),(2860,-162.5),(3112.75,-162.5),(3112.75,-159.75),(3400,-159.75),(3400,-159.95),(3112.95,-159.95),(3112.95,-162.7)],
  [(2859.5,-163),(2859.5,35.25),(2900,35.25),(2900,35.05),(2859.7,35.05),(2859.7,-162.8),(3113.05,-162.8),(3113.05,-160.05),(3400,-160.05),(3400,-160.25),(3113.25,-160.25),(3113.25,-163)],
  [(2864.3,-158.2),(2864.3,19.95),(2900,19.95),(2900,19.75),(2864.5,19.75),(2864.5,-158),(3108.25,-158),(3108.25,-119.75),(3400,-119.75),(3400,-119.95),(3108.45,-119.95),(3108.45,-158.2)],
  [(2864,-158.5),(2864,20.25),(2900,20.25),(2900,20.05),(2864.2,20.05),(2864.2,-158.3),(3108.55,-158.3),(3108.55,-120.05),(3400,-120.05),(3400,-120.25),(3108.75,-120.25),(3108.75,-158.5)],
  [(2868.8,-153.7),(2868.8,4.95),(2900,4.95),(2900,4.75),(2869,4.75),(2869,-153.5),(3103.75,-153.5),(3103.75,-79.75),(3400,-79.75),(3400,-79.95),(3103.95,-79.95),(3103.95,-153.7)],
  [(2868.5,-154),(2868.5,5.25),(2900,5.25),(2900,5.05),(2868.7,5.05),(2868.7,-153.8),(3104.05,-153.8),(3104.05,-80.05),(3400,-80.05),(3400,-80.25),(3104.25,-80.25),(3104.25,-154)],
  [(2873.3,-149.2),(2873.3,-10.05),(2900,-10.05),(2900,-10.25),(2873.5,-10.25),(2873.5,-149),(3099.25,-149),(3099.25,-39.75),(3400,-39.75),(3400,-39.95),(3099.45,-39.95),(3099.45,-149.2)],
  [(2873,-149.5),(2873,-9.75),(2900,-9.75),(2900,-9.95),(2873.2,-9.95),(2873.2,-149.3),(3099.55,-149.3),(3099.55,-40.05),(3400,-40.05),(3400,-40.25),(3099.75,-40.25),(3099.75,-149.5)],
  [(2877.5,-145),(2877.5,-24.75),(2900,-24.75),(2900,-24.95),(2877.7,-24.95),(2877.7,-144.8),(3095.05,-144.8),(3095.05,-0.05),(3400,-0.05),(3400,-0.25),(3095.25,-0.25),(3095.25,-145)],
  [(2877.8,-144.7),(2877.8,-25.05),(2900,-25.05),(2900,-25.25),(2878,-25.25),(2878,-144.5),(3094.75,-144.5),(3094.75,0.25),(3400,0.25),(3400,0.05),(3094.95,0.05),(3094.95,-144.7)],
  [(2882,-140.5),(2882,-39.75),(2900,-39.75),(2900,-39.95),(2882.2,-39.95),(2882.2,-140.3),(3090.55,-140.3),(3090.55,39.95),(3400,39.95),(3400,39.75),(3090.75,39.75),(3090.75,-140.5)],
  [(2882.3,-140.2),(2882.3,-40.05),(2900,-40.05),(2900,-40.25),(2882.5,-40.25),(2882.5,-140),(3090.25,-140),(3090.25,40.25),(3400,40.25),(3400,40.05),(3090.45,40.05),(3090.45,-140.2)],
  [(2886.5,-136),(2886.5,-54.75),(2900,-54.75),(2900,-54.95),(2886.7,-54.95),(2886.7,-135.8),(3086.05,-135.8),(3086.05,79.95),(3400,79.95),(3400,79.75),(3086.25,79.75),(3086.25,-136)],
  [(2886.8,-135.7),(2886.8,-55.05),(2900,-55.05),(2900,-55.25),(2887,-55.25),(2887,-135.5),(3085.75,-135.5),(3085.75,80.25),(3400,80.25),(3400,80.05),(3085.95,80.05),(3085.95,-135.7)],
  [(2891,-131.5),(2891,-69.75),(2900,-69.75),(2900,-69.95),(2891.2,-69.95),(2891.2,-131.3),(3081.55,-131.3),(3081.55,119.95),(3400,119.95),(3400,119.75),(3081.75,119.75),(3081.75,-131.5)],
  [(2891.3,-131.2),(2891.3,-70.05),(2900,-70.05),(2900,-70.25),(2891.5,-70.25),(2891.5,-131),(3081.25,-131),(3081.25,120.25),(3400,120.25),(3400,120.05),(3081.45,120.05),(3081.45,-131.2)],
  [(2895.5,-127),(2895.5,-84.75),(2900,-84.75),(2900,-84.95),(2895.7,-84.95),(2895.7,-126.8),(3077.05,-126.8),(3077.05,159.95),(3400,159.95),(3400,159.75),(3077.25,159.75),(3077.25,-127)],
  [(2895.8,-126.7),(2895.8,-85.05),(2900,-85.05),(2900,-85.25),(2896,-85.25),(2896,-126.5),(3076.75,-126.5),(3076.75,160.25),(3400,160.25),(3400,160.05),(3076.95,160.05),(3076.95,-126.7)],
  [(2964.75,-104.5),(2964.75,-100),(2964.95,-100),(2964.95,-104.3),(3054.55,-104.3),(3054.55,359.95),(3400,359.95),(3400,359.75),(3054.75,359.75),(3054.75,-104.5)],
  [(2965.05,-104.2),(2965.05,-100),(2965.25,-100),(2965.25,-104),(3054.25,-104),(3054.25,360.25),(3400,360.25),(3400,360.05),(3054.45,360.05),(3054.45,-104.2)],
  [(2949.75,-109),(2949.75,-100),(2949.95,-100),(2949.95,-108.8),(3059.05,-108.8),(3059.05,319.95),(3400,319.95),(3400,319.75),(3059.25,319.75),(3059.25,-109)],
  [(2950.05,-108.7),(2950.05,-100),(2950.25,-100),(2950.25,-108.5),(3058.75,-108.5),(3058.75,320.25),(3400,320.25),(3400,320.05),(3058.95,320.05),(3058.95,-108.7)],
  [(2934.75,-113.5),(2934.75,-100),(2934.95,-100),(2934.95,-113.3),(3063.55,-113.3),(3063.55,279.95),(3400,279.95),(3400,279.75),(3063.75,279.75),(3063.75,-113.5)],
  [(2935.05,-113.2),(2935.05,-100),(2935.25,-100),(2935.25,-113),(3063.25,-113),(3063.25,280.25),(3400,280.25),(3400,280.05),(3063.45,280.05),(3063.45,-113.2)],
  [(2919.75,-118),(2919.75,-100),(2919.95,-100),(2919.95,-117.8),(3068.05,-117.8),(3068.05,239.95),(3400,239.95),(3400,239.75),(3068.25,239.75),(3068.25,-118)],
  [(2920.05,-117.7),(2920.05,-100),(2920.25,-100),(2920.25,-117.5),(3067.75,-117.5),(3067.75,240.25),(3400,240.25),(3400,240.05),(3067.95,240.05),(3067.95,-117.7)],
  [(2904.75,-122.5),(2904.75,-100),(2904.95,-100),(2904.95,-122.3),(3072.55,-122.3),(3072.55,199.95),(3400,199.95),(3400,199.75),(3072.75,199.75),(3072.75,-122.5)],
  [(2905.05,-122.2),(2905.05,-100),(2905.25,-100),(2905.25,-122),(3072.25,-122),(3072.25,200.25),(3400,200.25),(3400,200.05),(3072.45,200.05),(3072.45,-122.2)])
R(test_smart_routing_start, FLOORPLAN, [(-50,-100,100,100), (2900,-100,3050,100), (2900,2900,3100,3050), (-100,2950,100,3100)])
P(test_smart_routing_start, FLOORPLAN, [(-400,-360),(-400,600),(-400,600),(-400,-360)],
  [(-600,2600),(-600,2600),(360,2600),(360,2600)],
  [(3400,-600),(3400,360),(3400,360),(3400,-600)],
  [(2640,3400),(2640,3400),(3600,3400),(3600,3400)])

lib.write_gds('test_smart_routing_start_bboxFalse_sort_portsFalse_indirectFalse_start_angle-1m2False_m1False_zTrue_p1True_p2True.gds')
